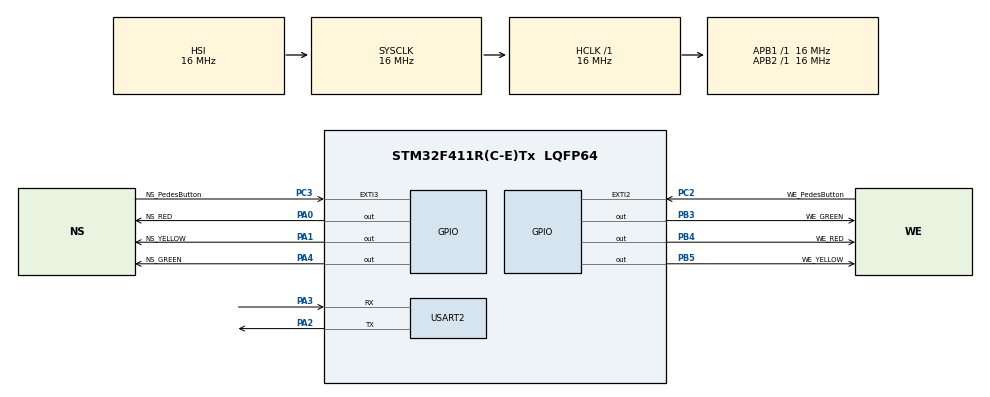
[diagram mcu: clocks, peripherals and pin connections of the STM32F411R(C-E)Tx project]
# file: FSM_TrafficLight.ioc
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FREERTOS.Events01=buttonEvent,Dynamic,NULL
FREERTOS.Mutexes01=uartMutex,Dynamic,NULL
FREERTOS.Tasks01=NorthTask,24,128,StartNorthTask,Default,NULL,Dynamic,NULL,NULL;EastTask,24,128,StartEastTask,Default,NULL,Dynamic,NULL,NULL;PedestrianTask,32,128,StartPedestrianTask,Default,NULL,Dynamic,NULL,NULL;LoggerTask,8,128,StartLoggerTask,Default,NULL,Dynamic,NULL,NULL
Mcu.Family=STM32F4
Mcu.Name=STM32F411R(C-E)Tx
Mcu.Package=LQFP64
NVIC.EXTI2_IRQn=true\:5\:0\:false\:false\:true\:true\:true\:true\:true
NVIC.EXTI3_IRQn=true\:5\:0\:false\:false\:true\:true\:true\:true\:true
NVIC.PriorityGroup=NVIC_PRIORITYGROUP_4
NVIC.TIM1_UP_TIM10_IRQn=true\:15\:0\:false\:false\:true\:false\:false\:true\:true
NVIC.TimeBase=TIM1_UP_TIM10_IRQn
NVIC.TimeBaseIP=TIM1
PA0-WKUP.GPIO_Label=NS_RED
PA0-WKUP.GPIO_PuPd=GPIO_PULLDOWN
PA0-WKUP.Signal=GPIO_Output
PA1.GPIO_Label=NS_YELLOW
PA1.GPIO_PuPd=GPIO_PULLDOWN
PA1.Signal=GPIO_Output
PA2.Mode=Asynchronous
PA2.Signal=USART2_TX
PA3.Mode=Asynchronous
PA3.Signal=USART2_RX
PA4.GPIO_Label=NS_GREEN
PA4.GPIO_PuPd=GPIO_PULLDOWN
PA4.Signal=GPIO_Output
PB3.GPIO_Label=WE_GREEN
PB3.GPIO_PuPd=GPIO_PULLDOWN
PB3.Signal=GPIO_Output
PB4.GPIO_Label=WE_RED
PB4.GPIO_PuPd=GPIO_PULLDOWN
PB4.Signal=GPIO_Output
PB5.GPIO_Label=WE_YELLOW
PB5.GPIO_PuPd=GPIO_PULLDOWN
PB5.Signal=GPIO_Output
PC2.GPIO_Label=WE_PedesButton
PC2.GPIO_PuPd=GPIO_PULLUP
PC2.Signal=GPXTI2
PC3.GPIO_Label=NS_PedesButton
PC3.GPIO_ModeDefaultEXTI=GPIO_MODE_IT_FALLING
PC3.GPIO_PuPd=GPIO_PULLUP
PC3.Signal=GPXTI3
ProjectManager.HeapSize=0x200
ProjectManager.StackSize=0x400
ProjectManager.TargetToolchain=STM32CubeIDE
RCC.AHBFreq_Value=16000000
RCC.APB1Freq_Value=16000000
RCC.APB2Freq_Value=16000000
RCC.CortexFreq_Value=16000000
RCC.HSE_VALUE=25000000
RCC.HSI_VALUE=16000000
RCC.LSE_VALUE=32768
RCC.SYSCLKFreq_VALUE=16000000
RCC.VCOOutputFreq_Value=192000000
USART2.VirtualMode=VM_ASYNC
VP_FREERTOS_VS_CMSIS_V2.Mode=CMSIS_V2
VP_SYS_VS_tim1.Mode=TIM1
board=custom

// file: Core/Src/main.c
/* USER CODE BEGIN Header */
/**
  ******************************************************************************
  * @file           : main.c
  * @brief          : Main program body
  ******************************************************************************
  * @attention
  *
  * Copyright (c) 2026 STMicroelectronics.
  * All rights reserved.
  *
  * This software is licensed under terms that can be found in the LICENSE file
  * in the root directory of this software component.
  * If no LICENSE file comes with this software, it is provided AS-IS.
  *
  ******************************************************************************
  */
/* USER CODE END Header */
#include "main.h"
#include "cmsis_os.h"
#include "usart.h"
#include "gpio.h"

/* USER CODE BEGIN Includes */
#include "traffic_system.h"
/* USER CODE END Includes */

void SystemClock_Config(void);
void MX_FREERTOS_Init(void);

/* USER CODE BEGIN 0 */
extern osEventFlagsId_t buttonEventHandle;
/* USER CODE END 0 */

int main(void)
{

  /* MCU Configuration--------------------------------------------------------*/

  /* Reset of all peripherals, Initializes the Flash interface and the Systick. */
  HAL_Init();

  /* Configure the system clock */
  SystemClock_Config();

  /* Initialize all configured peripherals */
  MX_GPIO_Init();
  MX_USART2_UART_Init();

  /* Init scheduler */
  osKernelInitialize();  /* Call init function for freertos objects (in freertos.c) */
  MX_FREERTOS_Init();

  /* Start scheduler */
  osKernelStart();
  /* We should never get here as control is now taken by the scheduler */
  /* Infinite loop */
  while (1)
  {

  }
}

void SystemClock_Config(void)
{
  RCC_OscInitTypeDef RCC_OscInitStruct = {0};
  RCC_ClkInitTypeDef RCC_ClkInitStruct = {0};

  /** Configure the main internal regulator output voltage
  */
  __HAL_RCC_PWR_CLK_ENABLE();
  __HAL_PWR_VOLTAGESCALING_CONFIG(PWR_REGULATOR_VOLTAGE_SCALE1);

  /** Initializes the RCC Oscillators according to the specified parameters
  * in the RCC_OscInitTypeDef structure.
  */
  RCC_OscInitStruct.OscillatorType = RCC_OSCILLATORTYPE_HSI;
  RCC_OscInitStruct.HSIState = RCC_HSI_ON;
  RCC_OscInitStruct.HSICalibrationValue = RCC_HSICALIBRATION_DEFAULT;
  RCC_OscInitStruct.PLL.PLLState = RCC_PLL_NONE;
  if (HAL_RCC_OscConfig(&RCC_OscInitStruct) != HAL_OK)
  {
    Error_Handler();
  }

  /** Initializes the CPU, AHB and APB buses clocks
  */
  RCC_ClkInitStruct.ClockType = RCC_CLOCKTYPE_HCLK|RCC_CLOCKTYPE_SYSCLK
                              |RCC_CLOCKTYPE_PCLK1|RCC_CLOCKTYPE_PCLK2;
  RCC_ClkInitStruct.SYSCLKSource = RCC_SYSCLKSOURCE_HSI;
  RCC_ClkInitStruct.AHBCLKDivider = RCC_SYSCLK_DIV1;
  RCC_ClkInitStruct.APB1CLKDivider = RCC_HCLK_DIV1;
  RCC_ClkInitStruct.APB2CLKDivider = RCC_HCLK_DIV1;

  if (HAL_RCC_ClockConfig(&RCC_ClkInitStruct, FLASH_LATENCY_0) != HAL_OK)
  {
    Error_Handler();
  }
}

void HAL_TIM_PeriodElapsedCallback(TIM_HandleTypeDef *htim)
{
  /* USER CODE BEGIN Callback 0 */
	static uint32_t lastPress = 0;

  /* USER CODE END Callback 0 */
  if (htim->Instance == TIM1) {
    HAL_IncTick();
  }
  /* USER CODE BEGIN Callback 1 */
	if(HAL_GetTick() - lastPress > 300)
	{
		// If North-West Road has Pedestrian
		if(HAL_GPIO_ReadPin(NS_PedesButton_GPIO_Port, NS_PedesButton_Pin) == GPIO_PIN_RESET)
		{
			lastPress = HAL_GetTick();
			osEventFlagsSet(buttonEventHandle, BUTTON_NS);
		}

		// If West-East Road has Pedestrian
		if(HAL_GPIO_ReadPin(WE_PedesButton_GPIO_Port, WE_PedesButton_Pin) == GPIO_PIN_RESET)
		{
			lastPress = HAL_GetTick();
			osEventFlagsSet(buttonEventHandle, BUTTON_WE);
		}
	}
  /* USER CODE END Callback 1 */
}

void Error_Handler(void)
{
  __disable_irq();
  while (1)
  {
  }
}

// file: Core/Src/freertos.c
/* USER CODE BEGIN Header */
/**
  ******************************************************************************
  * File Name          : freertos.c
  * Description        : Code for freertos applications
  ******************************************************************************
  * @attention
  *
  * Copyright (c) 2026 STMicroelectronics.
  * All rights reserved.
  *
  * This software is licensed under terms that can be found in the LICENSE file
  * in the root directory of this software component.
  * If no LICENSE file comes with this software, it is provided AS-IS.
  *
  ******************************************************************************
  */
/* USER CODE END Header */

#include "FreeRTOS.h"
#include "task.h"
#include "main.h"
#include "cmsis_os.h"

/* USER CODE BEGIN Includes */
#include <stdio.h>
#include "traffic_system.h"
#include "logger.h"

/* USER CODE END Includes */

/* Definitions for NorthTask */
osThreadId_t NorthTaskHandle;
const osThreadAttr_t NorthTask_attributes = {
  .name = "NorthTask",
  .stack_size = 128 * 4,
  .priority = (osPriority_t) osPriorityNormal,
};
/* Definitions for EastTask */
osThreadId_t EastTaskHandle;
const osThreadAttr_t EastTask_attributes = {
  .name = "EastTask",
  .stack_size = 128 * 4,
  .priority = (osPriority_t) osPriorityNormal,
};
/* Definitions for PedestrianTask */
osThreadId_t PedestrianTaskHandle;
const osThreadAttr_t PedestrianTask_attributes = {
  .name = "PedestrianTask",
  .stack_size = 128 * 4,
  .priority = (osPriority_t) osPriorityAboveNormal,
};
/* Definitions for LoggerTask */
osThreadId_t LoggerTaskHandle;
const osThreadAttr_t LoggerTask_attributes = {
  .name = "LoggerTask",
  .stack_size = 128 * 4,
  .priority = (osPriority_t) osPriorityLow,
};
/* Definitions for uartMutex */
osMutexId_t uartMutexHandle;
const osMutexAttr_t uartMutex_attributes = {
  .name = "uartMutex"
};
/* Definitions for buttonEvent */
osEventFlagsId_t buttonEventHandle;
const osEventFlagsAttr_t buttonEvent_attributes = {
  .name = "buttonEvent"
};

/* USER CODE BEGIN FunctionPrototypes */
TrafficLight NS, WE;	// NS: North-South
						// WE: West-East

/* USER CODE END FunctionPrototypes */

void StartNorthTask(void *argument);
void StartEastTask(void *argument);
void StartPedestrianTask(void *argument);
void StartLoggerTask(void *argument);

void MX_FREERTOS_Init(void); /* (MISRA C 2004 rule 8.1) */

void MX_FREERTOS_Init(void) {
  /* USER CODE BEGIN Init */

	Init_NS();
	Init_WE();

  /* USER CODE END Init */
  /* Create the mutex(es) */
  /* creation of uartMutex */
  uartMutexHandle = osMutexNew(&uartMutex_attributes);

  /* Create the thread(s) */
  /* creation of NorthTask */
  NorthTaskHandle = osThreadNew(StartNorthTask, NULL, &NorthTask_attributes);

  /* creation of EastTask */
  EastTaskHandle = osThreadNew(StartEastTask, NULL, &EastTask_attributes);

  /* creation of PedestrianTask */
  PedestrianTaskHandle = osThreadNew(StartPedestrianTask, NULL, &PedestrianTask_attributes);

  /* creation of LoggerTask */
  LoggerTaskHandle = osThreadNew(StartLoggerTask, NULL, &LoggerTask_attributes);

  /* creation of buttonEvent */
  buttonEventHandle = osEventFlagsNew(&buttonEvent_attributes);

}

void StartNorthTask(void *argument)
{
  /* USER CODE BEGIN StartNorthTask */
  /* Infinite loop */
  for(;;)
  {
	  NS.currentState(&NS);
	  osDelay(50);
  }
  /* USER CODE END StartNorthTask */
}

void StartEastTask(void *argument)
{
  /* USER CODE BEGIN StartEastTask */
  /* Infinite loop */
  for(;;)
  {
	  WE.currentState(&WE);
	  osDelay(50);
  }
  /* USER CODE END StartEastTask */
}

void StartPedestrianTask(void *argument)
{
  /* USER CODE BEGIN StartPedestrianTask */
	char msg[100];
	uint32_t flags;

  /* Infinite loop */
  for(;;)
  {
	  flags = osEventFlagsWait(buttonEventHandle, BUTTON_NS | BUTTON_WE, osFlagsWaitAny, osWaitForever);

	  if(flags & BUTTON_NS)
	  {
  		  sprintf(msg, "[BUTTON] North-South pedestrian request\r\n");
  		  LOG_Message(msg);

  		  NS.buttonState(&NS, &WE);
	  }

	  if(flags & BUTTON_WE)
	  {
  		  sprintf(msg, "[BUTTON] West-East pedestrian request\r\n");
  		  LOG_Message(msg);

  		  WE.buttonState(&WE, &NS);
	  }

  }
  /* USER CODE END StartPedestrianTask */
}

void StartLoggerTask(void *argument)
{
  /* USER CODE BEGIN StartLoggerTask */
	  char* NS_state;
	  char* WE_state;

	  uint32_t NS_remain;
	  uint32_t WE_remain;

	  char buffer[100];

  /* Infinite loop */
	  for(;;)
	  {
		  getStateInfo(&NS, &NS_state, &NS_remain);
		  getStateInfo(&WE, &WE_state, &WE_remain);

		  sprintf(buffer, "NS: %s %lus | WE: %s %lus\r\n", NS_state, (NS_remain + 999) / 1000,
				  	  	  	  	  	  	  	  	  	  	   WE_state, (WE_remain + 999) / 1000);
		  LOG_Message(buffer);

		  osDelay(1000);
	  }

  /* USER CODE END StartLoggerTask */
}
